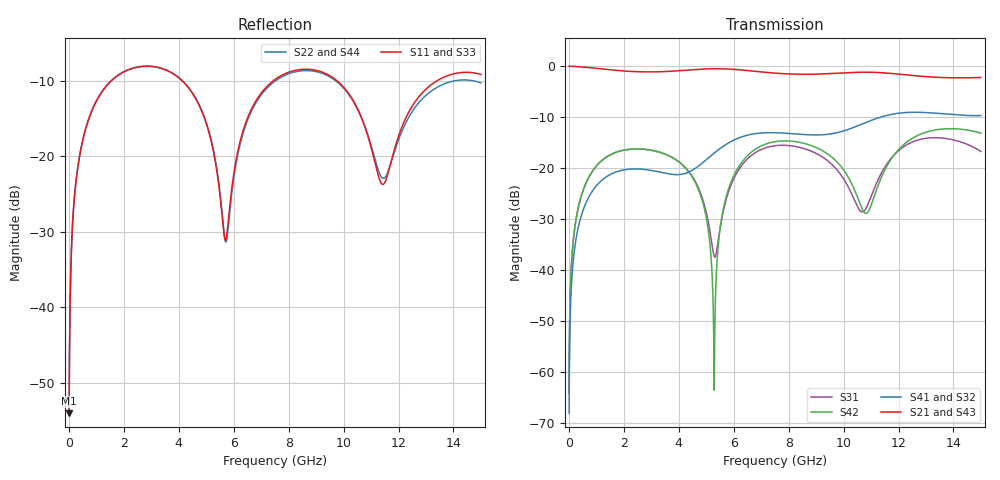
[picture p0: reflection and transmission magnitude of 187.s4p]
! Created with skrf 1.8.0 (http://scikit-rf.org).
# GHz S RI R 50.0
!freq ReS11 ImS11 ReS12 ImS12 ReS13 ImS13
! ReS14 ImS14
! ReS21 ImS21 ReS22 ImS22 ReS23 ImS23
! ReS24 ImS24
! ReS31 ImS31 ReS32 ImS32 ReS33 ImS33
! ReS34 ImS34
! ReS41 ImS41 ReS42 ImS42 ReS43 ImS43
! ReS44 ImS44
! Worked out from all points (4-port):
!   2499 points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, 5 MHz to 15 GHz, reference 50 ohm
!   strongest paths, dB at 5 MHz, 3.476 GHz, 7.19 GHz, 11.1 GHz, 15 GHz:
!     S21: 0.0, -1.1, -1.2, -1.2, -2.2
!     S43: 0.0, -1.1, -1.2, -1.2, -2.2
!     S41: -68.1, -21.0, -13.1, -10.5, -9.7
!     S32: -68.1, -21.0, -13.1, -10.4, -9.7
!     S42: -64.2, -17.2, -15.2, -25.8, -13.2
!     S31: -64.2, -17.2, -16.0, -24.3, -16.7
!   lowest |S11| = -54.1 dB at 5 MHz (marker M1), VSWR 1.00, Z = 50.2 + j0.12 ohm
!   |S11| at or under -10 dB: start of sweep to 1.545 GHz; 4.119 GHz to 7.445 GHz (3.326 GHz wide, 57.5 % of centre); 9.757 GHz to 13.41 GHz (3.651 GHz wide, 31.5 % of centre)
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0.005  0.00157 0.0012  0.9984 -0.00306  7.84e-05 0.000613  -7.63e-05 -0.000386
       0.9984 -0.00306  0.00157 0.0012  -7.63e-05 -0.000386  7.85e-05 0.000613
       7.84e-05 0.000613  -7.63e-05 -0.000386  0.00157 0.0012  0.9984 -0.00306
       -7.63e-05 -0.000386  7.85e-05 0.000613  0.9984 -0.00306  0.00157 0.0012
0.3126303  0.0224 0.0791  0.9694 -0.1909  0.01 0.0366  -0.0084 -0.0228
           0.9694 -0.1909  0.0224 0.0791  -0.00839 -0.0228  0.0101 0.0366
           0.01 0.0366  -0.00839 -0.0228  0.0224 0.0791  0.9694 -0.1909
           -0.0084 -0.0228  0.0101 0.0366  0.9694 -0.1909  0.0224 0.0791
1.519383  0.2519 0.1858  0.5891 -0.7057  0.1187 0.0653  -0.086 -0.0126
          0.5891 -0.7057  0.2518 0.1858  -0.0859 -0.0127  0.119 0.065
          0.1187 0.0653  -0.0859 -0.0127  0.252 0.1857  0.5891 -0.7057
          -0.086 -0.0126  0.119 0.065  0.5891 -0.7057  0.2518 0.1859
5.289704  0.0473 -0.0894  -0.8971 -0.2875  -0.013 -0.00385  -0.0381 0.1351
          -0.8971 -0.2875  0.0474 -0.0916  -0.039 0.1349  0.000654 0.000113
          -0.013 -0.00385  -0.039 0.1349  0.0479 -0.0892  -0.8971 -0.2873
          -0.0381 0.1351  0.000654 0.000113  -0.8971 -0.2873  0.0466 -0.0917
6.771571  0.1577 0.1626  -0.7629 0.4571  0.1073 0.0913  0.1427 0.1638
          -0.7629 0.4571  0.1516 0.1591  0.1413 0.1643  0.1308 0.0778
          0.1073 0.0913  0.1413 0.1643  0.1598 0.1619  -0.7626 0.4573
          0.1427 0.1638  0.1308 0.0778  -0.7626 0.4573  0.15 0.1603
11.29846  0.065 -0.0283  0.8423 0.193  -0.0241 0.0775  0.0616 -0.3067
          0.8423 0.193  0.0715 -0.0305  0.0672 -0.3062  -0.00997 0.0715
          -0.0241 0.0775  0.0672 -0.3062  0.0581 -0.0298  0.8422 0.1926
          0.0616 -0.3067  -0.00997 0.0715  0.8422 0.1926  0.0787 -0.0298
15  0.3313 -0.1046  -0.0878 -0.7684  0.115 -0.0891  -0.3115 0.1014
    -0.0878 -0.7684  0.298 -0.0673  -0.3128 0.0955  0.112 -0.1891
    0.115 -0.0891  -0.3128 0.0955  0.3357 -0.1019  -0.0882 -0.7671
    -0.3115 0.1014  0.112 -0.1891  -0.0882 -0.7671  0.3002 -0.0707
